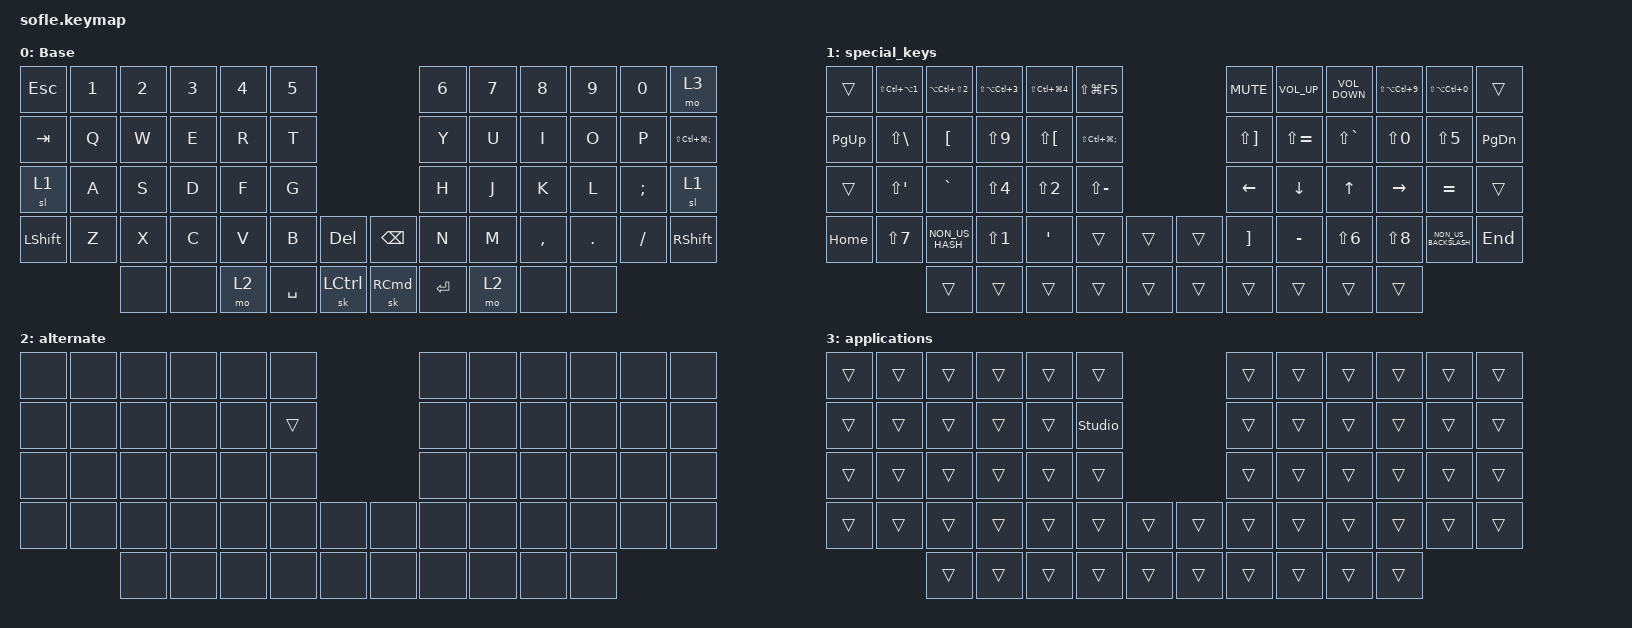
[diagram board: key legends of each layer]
/*
 * Copyright (c) 2020 The ZMK Contributors
 *
 * SPDX-License-Identifier: MIT
 */

#include <behaviors.dtsi>
#include <dt-bindings/zmk/keys.h>

#define BASE 0
#define LOWER 1
#define RAISE 2
#define ADJUST 3
#define extra_layer 4

/ {
    // Activate ADJUST layer by pressing raise and lower

    conditional_layers { compatible = "zmk,conditional-layers"; };

    combos {
        compatible = "zmk,combos";

        backspace {
            bindings = <&Arrow>;
            key-positions = <27 28>;
        };

        Escape {
            bindings = <&kp ESCAPE>;
            key-positions = <31 32>;
        };
    };

    behaviors {
        caps: caps {
            compatible = "zmk,behavior-caps-word";
            label = "CAPS";
            #binding-cells = <0>;
            continue-list = <POUND MINUS BACKSPACE UNDERSCORE>;
        };
    };

    macros {
        Arrow: Arrow {
            compatible = "zmk,behavior-macro";
            #binding-cells = <0>;
            bindings = <&kp EQUAL &kp GT>;
            label = "ARROW";
        };
    };

    keymap {
        compatible = "zmk,keymap";

        Base {
            display-name = "Base";

            // ------------------------------------------------------------------------------------------------------------
            // |   `   |  1  |  2  |  3   |  4   |  5   |                   |  6   |  7    |  8    |  9   |   0   |       |
            // |  ESC  |  Q  |  W  |  E   |  R   |  T   |                   |  Y   |  U    |  I    |  O   |   P   | BKSPC |
            // |  TAB  |  A  |  S  |  D   |  F   |  G   |                   |  H   |  J    |  K    |  L   |   ;   |   '   |
            // | SHIFT |  Z  |  X  |  C   |  V   |  B   |  MUTE  |  |       |  N   |  M    |  ,    |  .   |   /   | SHIFT |
            //               | GUI | ALT  | CTRL | LOWER|  ENTER |  | SPACE | RAISE| CTRL  | ALT   | GUI  |

            bindings = <
&kp ESCAPE      &kp N1  &kp N2  &kp N3  &kp N4  &kp N5                                      &kp N6     &kp N7  &kp N8     &kp N9   &kp N0    &mo 3
&kp TAB         &kp Q   &kp W   &kp E   &kp R   &kp T                                       &kp Y      &kp U   &kp I      &kp O    &kp P     &kp LS(LC(LG(SEMICOLON)))
&sl 1           &kp A   &kp S   &kp D   &kp F   &kp G                                       &kp H      &kp J   &kp K      &kp L    &kp SEMI  &sl 1
&kp LEFT_SHIFT  &kp Z   &kp X   &kp C   &kp V   &kp B      &kp DELETE    &kp BACKSPACE      &kp N      &kp M   &kp COMMA  &kp DOT  &kp FSLH  &kp RSHFT
                        &none   &none   &mo 2   &kp SPACE  &sk LCTRL     &sk RIGHT_COMMAND  &kp ENTER  &mo 2   &none      &none
            >;
        };

        special_keys {
            display-name = "special_keys";

            // TODO: Some binds are waiting for shifted keycode support.
            // ------------------------------------------------------------------------------------------------------------
            // |       |  F1 |  F2 |  F3  |  F4  |  F5  |                   |  F6  |  F7   |  F8   |  F9  |  F10  |  F11  |
            // |   `   |  1  |  2  |  3   |  4   |  5   |                   |  6   |  7    |  8    |  9   |   0   |  F12  |
            // |       |  !  |  @  |  #   |  $   |  %   |                   |  ^   |  &    |  *    |  (   |   )   |   |   |
            // |       |  =  |  -  |  +   |  {   |  }   |        |  |       |  [   |  ]    |  ;    |  :   |   \   |       |
            //               |     |      |      |      |        |  |       |      |       |       |      |

            bindings = <
&trans       &kp LS(LC(LA(NUMBER_1)))  &kp LA(LC(LS(NUMBER_2)))  &kp LS(LA(LC(NUMBER_3)))  &kp LS(LC(LG(NUMBER_4)))  &kp LS(LG(F5))                               &kp K_MUTE             &kp C_VOLUME_UP  &kp C_VOLUME_DOWN  &kp LS(LA(LC(N9)))  &kp LS(LA(LC(N0)))    &trans
&kp PAGE_UP  &kp LS(BACKSLASH)         &kp LEFT_BRACKET          &kp LS(N9)                &kp LS(LEFT_BRACKET)      &kp LS(LC(LG(SEMICOLON)))                    &kp LS(RIGHT_BRACKET)  &kp LS(EQUAL)    &kp LS(GRAVE)      &kp LS(N0)          &kp LS(N5)            &kp PAGE_DOWN
&trans       &kp LS(APOS)              &kp GRAVE                 &kp LS(NUMBER_4)          &kp LS(NUMBER_2)          &kp LS(MINUS)                                &kp LEFT               &kp DOWN         &kp UP_ARROW       &kp RIGHT_ARROW     &kp EQUAL             &trans
&kp HOME     &kp LS(N7)                &kp NON_US_HASH           &kp LS(NUMBER_1)          &kp APOS                  &trans                     &trans    &trans  &kp RIGHT_BRACKET      &kp MINUS        &kp LS(NUMBER_6)   &kp LS(N8)          &kp NON_US_BACKSLASH  &kp END
                                       &trans                    &trans                    &trans                    &trans                     &trans    &trans  &trans                 &trans           &trans             &trans
            >;
        };

        alternate {
            // ----------------------------------------------------------------------------------------------------------------------------
            // | BTCLR  |  BT1    |  BT2    |   BT3   |   BT4   |   BT5   |                  |      |      |       |      |       |       |
            // | EXTPWR | RGB_HUD | RGB_HUI | RGB_SAD | RGB_SAI | RGB_EFF |                  |      |      |       |      |       |       |
            // |        | RGB_BRD | RGB_BRI |         |         |         |                  |      |      |       |      |       |       |
            // |        |         |         |         |         |         | RGB_TOG | |      |      |      |       |      |       |       |
            //                    |         |         |         |         |         | |      |      |      |       |      |

            display-name = "alternate";
            bindings = <
&none  &none  &none  &none  &none  &none                   &none  &none  &none  &none  &none  &none
&none  &none  &none  &none  &none  &trans                  &none  &none  &none  &none  &none  &none
&none  &none  &none  &none  &none  &none                   &none  &none  &none  &none  &none  &none
&none  &none  &none  &none  &none  &none   &none    &none  &none  &none  &none  &none  &none  &none
              &none  &none  &none  &none   &none    &none  &none  &none  &none  &none
            >;
        };

        applications {
            bindings = <
&trans  &trans  &trans  &trans  &trans  &trans                            &trans  &trans  &trans  &trans  &trans  &trans
&trans  &trans  &trans  &trans  &trans  &studio_unlock                    &trans  &trans  &trans  &trans  &trans  &trans
&trans  &trans  &trans  &trans  &trans  &trans                            &trans  &trans  &trans  &trans  &trans  &trans
&trans  &trans  &trans  &trans  &trans  &trans          &trans    &trans  &trans  &trans  &trans  &trans  &trans  &trans
                &trans  &trans  &trans  &trans          &trans    &trans  &trans  &trans  &trans  &trans
            >;
        };
    };
};
